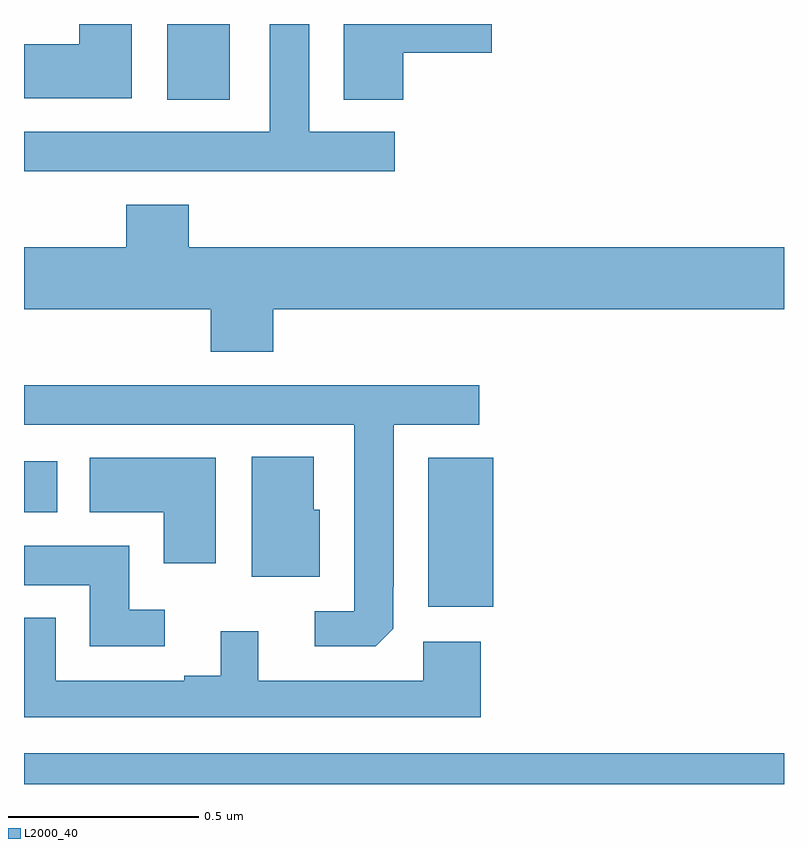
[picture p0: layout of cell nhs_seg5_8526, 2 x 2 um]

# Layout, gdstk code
import gdstk
lib = gdstk.Library(unit=1e-6, precision=1e-09)
def R(c, l, rs):  # rectangles x0, y0, x1, y1
    for r in rs: c.add(gdstk.rectangle(r[:2], r[2:], *l))
def P(c, l, *ps):  # polygons
    for p in ps: c.add(gdstk.Polygon(p, *l))
L2000_40 = (2000, 40)

nhs_seg5_8526 = lib.new_cell('nhs_seg5_8526')
R(nhs_seg5_8526, L2000_40, [(222,900.799,224,900.88), (223.064,901.265,223.235,901.657), (222,901.514,222.088,901.648), (222.377,902.6,222.541,902.799)])
P(nhs_seg5_8526, L2000_40, [(222.283,902.799),(222.146,902.799),(222.146,902.746),(222,902.746),(222,902.603),(222.283,902.603)],
  [(222.976,902.515),(222.751,902.515),(222.751,902.799),(222.647,902.799),(222.647,902.515),(222,902.515),(222,902.411),(222.976,902.411)],
  [(222.998,902.723),(223.231,902.723),(223.231,902.799),(222.842,902.799),(222.842,902.6),(222.998,902.6)],
  [(222.656,902.048),(224,902.048),(224,902.212),(222.434,902.212),(222.434,902.323),(222.269,902.323),(222.269,902.212),(222,902.212),(222,902.048),(222.491,902.048),(222.491,901.937),(222.656,901.937)],
  [(222.972,901.207),(222.972,901.318),(222.973,901.318),(222.973,901.745),(223.198,901.745),(223.198,901.849),(222,901.849),(222,901.745),(222.869,901.745),(222.869,901.254),(222.765,901.254),(222.765,901.161),(222.926,901.161)],
  [(222.778,901.521),(222.763,901.521),(222.763,901.66),(222.599,901.66),(222.599,901.344),(222.778,901.344)],
  [(222.505,901.657),(222.173,901.657),(222.173,901.514),(222.368,901.514),(222.368,901.38),(222.505,901.38)],
  [(222.37,901.257),(222.277,901.257),(222.277,901.426),(222,901.426),(222,901.322),(222.173,901.322),(222.173,901.161),(222.37,901.161)],
  [(223.202,901.174),(223.05,901.174),(223.05,901.071),(222.616,901.071),(222.616,901.201),(222.518,901.201),(222.518,901.084),(222.422,901.084),(222.422,901.071),(222.084,901.071),(222.084,901.237),(222,901.237),(222,900.975),(223.202,900.975)])

lib.write_gds('nhs_seg5_8526.gds')
